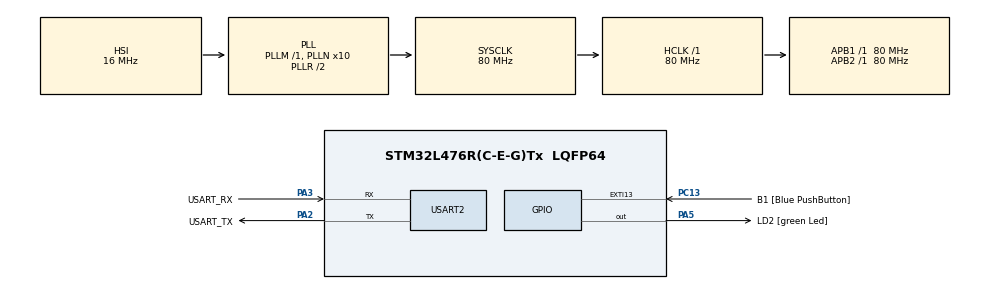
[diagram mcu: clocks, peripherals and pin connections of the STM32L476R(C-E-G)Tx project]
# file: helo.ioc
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Mcu.Family=STM32L4
Mcu.Name=STM32L476R(C-E-G)Tx
Mcu.Package=LQFP64
NVIC.PriorityGroup=NVIC_PRIORITYGROUP_4
PA13\ (JTMS-SWDIO).GPIO_Label=TMS
PA13\ (JTMS-SWDIO).Signal=SYS_JTMS-SWDIO
PA14\ (JTCK-SWCLK).GPIO_Label=TCK
PA14\ (JTCK-SWCLK).Signal=SYS_JTCK-SWCLK
PA2.GPIO_Label=USART_TX
PA2.GPIO_Mode=GPIO_MODE_AF_PP
PA2.GPIO_PuPd=GPIO_NOPULL
PA2.GPIO_Speed=GPIO_SPEED_FREQ_VERY_HIGH
PA2.Mode=Asynchronous
PA2.Signal=USART2_TX
PA3.GPIO_Label=USART_RX
PA3.GPIO_Mode=GPIO_MODE_AF_PP
PA3.GPIO_PuPd=GPIO_NOPULL
PA3.GPIO_Speed=GPIO_SPEED_FREQ_VERY_HIGH
PA3.Mode=Asynchronous
PA3.Signal=USART2_RX
PA5.GPIO_Label=LD2 [green Led]
PA5.GPIO_ModeDefaultOutputPP=GPIO_MODE_OUTPUT_PP
PA5.GPIO_PuPd=GPIO_NOPULL
PA5.GPIO_Speed=GPIO_SPEED_FREQ_LOW
PA5.Signal=GPIO_Output
PB3\ (JTDO-TRACESWO).GPIO_Label=SWO
PB3\ (JTDO-TRACESWO).Signal=SYS_JTDO-SWO
PC13.GPIO_Label=B1 [Blue PushButton]
PC13.GPIO_ModeDefaultEXTI=GPIO_MODE_IT_FALLING
PC13.GPIO_PuPd=GPIO_NOPULL
PC13.Signal=GPXTI13
PC14-OSC32_IN\ (PC14).Signal=RCC_OSC32_IN
PC15-OSC32_OUT\ (PC15).Signal=RCC_OSC32_OUT
PH0-OSC_IN\ (PH0).Signal=RCC_OSC_IN
PH1-OSC_OUT\ (PH1).Signal=RCC_OSC_OUT
ProjectManager.HeapSize=0x200
ProjectManager.StackSize=0x400
ProjectManager.TargetToolchain=STM32CubeIDE
RCC.ADCFreq_Value=64000000
RCC.AHBFreq_Value=80000000
RCC.APB1Freq_Value=80000000
RCC.APB1TimFreq_Value=80000000
RCC.APB2Freq_Value=80000000
RCC.APB2TimFreq_Value=80000000
RCC.CortexFreq_Value=80000000
RCC.HCLKFreq_Value=80000000
RCC.HSE_VALUE=8000000
RCC.HSI_VALUE=16000000
RCC.LSE_VALUE=32768
RCC.MSI_VALUE=4000000
RCC.PLLN=10
RCC.PLLSourceVirtual=RCC_PLLSOURCE_HSI
RCC.PREFETCH_ENABLE=1
RCC.SYSCLKFreq_VALUE=80000000
RCC.SYSCLKSource=RCC_SYSCLKSOURCE_PLLCLK
RCC.USBFreq_Value=64000000
RCC.VCOOutputFreq_Value=160000000
USART2.VirtualMode-Asynchronous=VM_ASYNC
board=NUCLEO-L476RG

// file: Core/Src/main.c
/* USER CODE BEGIN Header */
/**
  ******************************************************************************
  * @file           : main.c
  * @brief          : Main program body
  ******************************************************************************
  * @attention
  *
  * Copyright (c) 2022 STMicroelectronics.
  * All rights reserved.
  *
  * This software is licensed under terms that can be found in the LICENSE file
  * in the root directory of this software component.
  * If no LICENSE file comes with this software, it is provided AS-IS.
  *
  ******************************************************************************
  */
/* USER CODE END Header */
#include "main.h"
#include <stdio.h>

 UART_HandleTypeDef huart2;

void SystemClock_Config(void);
static void MX_GPIO_Init(void);
static void MX_USART2_UART_Init(void);
int findNum(int j ,const char *baffer);

/* USER CODE BEGIN PFP */
#define PUTCHAR_PROTOTYPE int __io_putchar(int ch)
/* USER CODE END PFP */

int main(void)
{

  /* MCU Configuration--------------------------------------------------------*/

  /* Reset of all peripherals, Initializes the Flash interface and the Systick. */
  HAL_Init();

  /* Configure the system clock */
  SystemClock_Config();

  /* Initialize all configured peripherals */
  MX_GPIO_Init();
  MX_USART2_UART_Init();
  /* USER CODE BEGIN 2 */

	char start [10] = {"start"};
	char stop [10] = {"stop"};
	char baffur [100]={0};
	uint8_t ch;
    uint8_t i=0;
    uint32_t number=0;

  /* USER CODE END 2 */

  /* Infinite loop */
  /* USER CODE BEGIN WHILE */
  while (1)
  {

    uint8_t flagStart = 0;
    uint8_t flagStop = 0;

	if (HAL_UART_Receive(&huart2, &ch, 1, 10) == HAL_OK)
	{

		if(ch!='\n' || ch!='\r')
		{
			baffur[i]=ch;
		    i++;
		    HAL_UART_Transmit(&huart2 , &ch, 1, 1);
		}

	    flagStart = strncmp(start , baffur, 5);
	    flagStop = strncmp(stop , baffur, 4);

	    while (flagStart == 1)
	    {
			number= findNum (5, baffur);
			uint32_t count=0;
			while (count< number && flagStop == 0)
			{
				HAL_GPIO_WritePin(LD2_GPIO_Port,LD2_Pin,1);
				count++;
			}

			flagStart=0;
	    }

	}

    /* USER CODE END WHILE */

    /* USER CODE BEGIN 3 */

     /*  if (HAL_GPIO_ReadPin(B1_GPIO_Port, B1_Pin) == 1)
	  {
	      HAL_GPIO_WritePin(LD2_GPIO_Port,LD2_Pin,1);
	      HAL_UART_Transmit(&huart2, "hello\n\r" , 7, 1000);
          HAL_Delay(500);
	  }
	  else
	  {
		  HAL_UART_Transmit(&huart2, "stop\n\r" , 6, 1000);
		  HAL_GPIO_WritePin(LD2_GPIO_Port,LD2_Pin,0);
		  HAL_Delay(500);
	  }*/

  }
  /* USER CODE END 3 */
}

int findNum(int j ,const char *baffer)
{
	char temp[10];
	int i = 0;
	int number = 0;
	while (baffer[j] != '\0')
	{
		temp[i] = baffer[j];
		i++;
		j++;
	}

	number= atoi (temp);

	return number;
}
void SystemClock_Config(void)
{
  RCC_OscInitTypeDef RCC_OscInitStruct = {0};
  RCC_ClkInitTypeDef RCC_ClkInitStruct = {0};

  /** Configure the main internal regulator output voltage
  */
  if (HAL_PWREx_ControlVoltageScaling(PWR_REGULATOR_VOLTAGE_SCALE1) != HAL_OK)
  {
    Error_Handler();
  }

  /** Initializes the RCC Oscillators according to the specified parameters
  * in the RCC_OscInitTypeDef structure.
  */
  RCC_OscInitStruct.OscillatorType = RCC_OSCILLATORTYPE_HSI;
  RCC_OscInitStruct.HSIState = RCC_HSI_ON;
  RCC_OscInitStruct.HSICalibrationValue = RCC_HSICALIBRATION_DEFAULT;
  RCC_OscInitStruct.PLL.PLLState = RCC_PLL_ON;
  RCC_OscInitStruct.PLL.PLLSource = RCC_PLLSOURCE_HSI;
  RCC_OscInitStruct.PLL.PLLM = 1;
  RCC_OscInitStruct.PLL.PLLN = 10;
  RCC_OscInitStruct.PLL.PLLP = RCC_PLLP_DIV7;
  RCC_OscInitStruct.PLL.PLLQ = RCC_PLLQ_DIV2;
  RCC_OscInitStruct.PLL.PLLR = RCC_PLLR_DIV2;
  if (HAL_RCC_OscConfig(&RCC_OscInitStruct) != HAL_OK)
  {
    Error_Handler();
  }

  /** Initializes the CPU, AHB and APB buses clocks
  */
  RCC_ClkInitStruct.ClockType = RCC_CLOCKTYPE_HCLK|RCC_CLOCKTYPE_SYSCLK
                              |RCC_CLOCKTYPE_PCLK1|RCC_CLOCKTYPE_PCLK2;
  RCC_ClkInitStruct.SYSCLKSource = RCC_SYSCLKSOURCE_PLLCLK;
  RCC_ClkInitStruct.AHBCLKDivider = RCC_SYSCLK_DIV1;
  RCC_ClkInitStruct.APB1CLKDivider = RCC_HCLK_DIV1;
  RCC_ClkInitStruct.APB2CLKDivider = RCC_HCLK_DIV1;

  if (HAL_RCC_ClockConfig(&RCC_ClkInitStruct, FLASH_LATENCY_4) != HAL_OK)
  {
    Error_Handler();
  }
}

static void MX_USART2_UART_Init(void)
{

  huart2.Instance = USART2;
  huart2.Init.BaudRate = 115200;
  huart2.Init.WordLength = UART_WORDLENGTH_8B;
  huart2.Init.StopBits = UART_STOPBITS_1;
  huart2.Init.Parity = UART_PARITY_NONE;
  huart2.Init.Mode = UART_MODE_TX_RX;
  huart2.Init.HwFlowCtl = UART_HWCONTROL_NONE;
  huart2.Init.OverSampling = UART_OVERSAMPLING_16;
  huart2.Init.OneBitSampling = UART_ONE_BIT_SAMPLE_DISABLE;
  huart2.AdvancedInit.AdvFeatureInit = UART_ADVFEATURE_NO_INIT;
  if (HAL_UART_Init(&huart2) != HAL_OK)
  {
    Error_Handler();
  }

}

static void MX_GPIO_Init(void)
{
  GPIO_InitTypeDef GPIO_InitStruct = {0};

  /* GPIO Ports Clock Enable */
  __HAL_RCC_GPIOC_CLK_ENABLE();
  __HAL_RCC_GPIOH_CLK_ENABLE();
  __HAL_RCC_GPIOA_CLK_ENABLE();
  __HAL_RCC_GPIOB_CLK_ENABLE();

  /*Configure GPIO pin Output Level */
  HAL_GPIO_WritePin(LD2_GPIO_Port, LD2_Pin, GPIO_PIN_RESET);

  /*Configure GPIO pin : B1_Pin */
  GPIO_InitStruct.Pin = B1_Pin;
  GPIO_InitStruct.Mode = GPIO_MODE_IT_FALLING;
  GPIO_InitStruct.Pull = GPIO_NOPULL;
  HAL_GPIO_Init(B1_GPIO_Port, &GPIO_InitStruct);

  /*Configure GPIO pin : LD2_Pin */
  GPIO_InitStruct.Pin = LD2_Pin;
  GPIO_InitStruct.Mode = GPIO_MODE_OUTPUT_PP;
  GPIO_InitStruct.Pull = GPIO_NOPULL;
  GPIO_InitStruct.Speed = GPIO_SPEED_FREQ_LOW;
  HAL_GPIO_Init(LD2_GPIO_Port, &GPIO_InitStruct);

}

/* USER CODE BEGIN 4 */
PUTCHAR_PROTOTYPE
{
  /* Place your implementation of fputc here */
  /* e.g. write a character to the USART1 and Loop until the end of transmission */
  HAL_UART_Transmit(&huart2, (uint8_t *)&ch, 1, 0xFFFF);

  return ch;
}
/* USER CODE END 4 */

void Error_Handler(void)
{
  __disable_irq();
  while (1)
  {
  }
}
